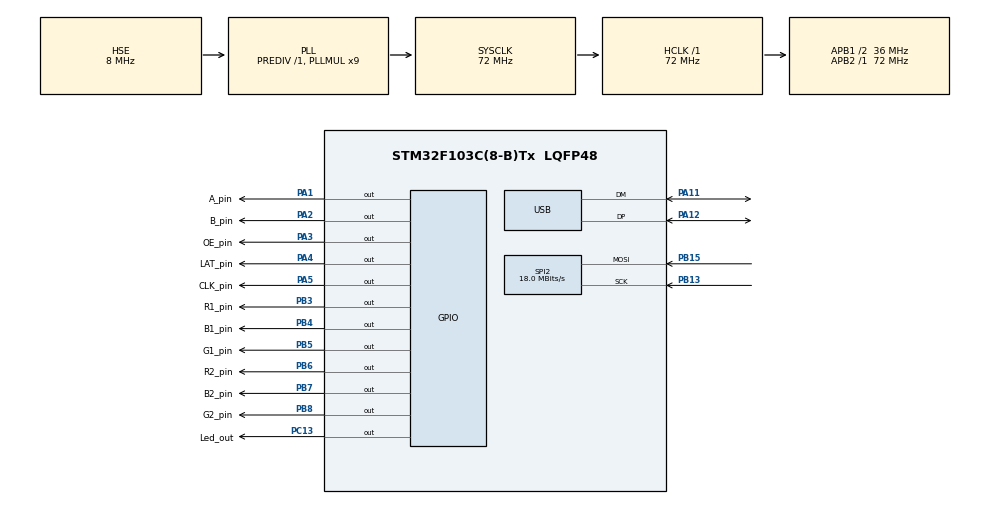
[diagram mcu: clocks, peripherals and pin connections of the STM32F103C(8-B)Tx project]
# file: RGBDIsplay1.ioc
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Mcu.Family=STM32F1
Mcu.Name=STM32F103C(8-B)Tx
Mcu.Package=LQFP48
NVIC.PriorityGroup=NVIC_PRIORITYGROUP_4
NVIC.TIM2_IRQn=true\:1\:0\:true\:false\:true\:true\:true
NVIC.USB_LP_CAN1_RX0_IRQn=true\:0\:0\:false\:false\:true\:false\:true
PA1.GPIO_Label=A_pin
PA1.GPIO_Speed=GPIO_SPEED_FREQ_HIGH
PA1.PinState=GPIO_PIN_RESET
PA1.Signal=GPIO_Output
PA11.Mode=Device
PA11.Signal=USB_DM
PA12.Mode=Device
PA12.Signal=USB_DP
PA13.Mode=Serial_Wire
PA13.Signal=SYS_JTMS-SWDIO
PA14.Mode=Serial_Wire
PA14.Signal=SYS_JTCK-SWCLK
PA2.GPIO_Label=B_pin
PA2.GPIO_Speed=GPIO_SPEED_FREQ_HIGH
PA2.Signal=GPIO_Output
PA3.GPIO_Label=OE_pin
PA3.GPIO_Speed=GPIO_SPEED_FREQ_HIGH
PA3.Signal=GPIO_Output
PA4.GPIO_Label=LAT_pin
PA4.GPIO_Speed=GPIO_SPEED_FREQ_HIGH
PA4.Signal=GPIO_Output
PA5.GPIO_Label=CLK_pin
PA5.GPIO_Speed=GPIO_SPEED_FREQ_HIGH
PA5.PinState=GPIO_PIN_RESET
PA5.Signal=GPIO_Output
PB13.Mode=RX_Only_Simplex_Unidirect_Slave
PB13.Signal=SPI2_SCK
PB15.Mode=RX_Only_Simplex_Unidirect_Slave
PB15.Signal=SPI2_MOSI
PB3.GPIO_Label=R1_pin
PB3.GPIO_Speed=GPIO_SPEED_FREQ_HIGH
PB3.Signal=GPIO_Output
PB4.GPIO_Label=B1_pin
PB4.GPIO_Speed=GPIO_SPEED_FREQ_HIGH
PB4.Signal=GPIO_Output
PB5.GPIO_Label=G1_pin
PB5.GPIO_Speed=GPIO_SPEED_FREQ_HIGH
PB5.Signal=GPIO_Output
PB6.GPIO_Label=R2_pin
PB6.GPIO_Speed=GPIO_SPEED_FREQ_HIGH
PB6.Signal=GPIO_Output
PB7.GPIO_Label=B2_pin
PB7.GPIO_Speed=GPIO_SPEED_FREQ_HIGH
PB7.Signal=GPIO_Output
PB8.GPIO_Label=G2_pin
PB8.GPIO_Speed=GPIO_SPEED_FREQ_HIGH
PB8.Signal=GPIO_Output
PC13-TAMPER-RTC.GPIO_Label=Led_out
PC13-TAMPER-RTC.Signal=GPIO_Output
PD0-OSC_IN.Mode=HSE-External-Oscillator
PD0-OSC_IN.Signal=RCC_OSC_IN
PD1-OSC_OUT.Mode=HSE-External-Oscillator
PD1-OSC_OUT.Signal=RCC_OSC_OUT
ProjectManager.HeapSize=0x200
ProjectManager.StackSize=0x400
ProjectManager.TargetToolchain=MDK-ARM V5
RCC.AHBFreq_Value=72000000
RCC.APB1CLKDivider=RCC_HCLK_DIV2
RCC.APB1Freq_Value=36000000
RCC.APB1TimFreq_Value=72000000
RCC.APB2Freq_Value=72000000
RCC.APB2TimFreq_Value=72000000
RCC.HCLKFreq_Value=72000000
RCC.PLLMUL=RCC_PLL_MUL9
RCC.SYSCLKFreq_VALUE=72000000
RCC.SYSCLKSource=RCC_SYSCLKSOURCE_PLLCLK
RCC.USBFreq_Value=48000000
RCC.USBPrescaler=RCC_USBCLKSOURCE_PLL_DIV1_5
SPI2.CalculateBaudRate=18.0 MBits/s
SPI2.Direction=SPI_DIRECTION_2LINES_RXONLY
SPI2.Mode=SPI_MODE_SLAVE
SPI2.VirtualType=VM_SLAVE
TIM2.Period=200
TIM2.Prescaler=7200
USB_DEVICE.CLASS_NAME_FS=CDC
USB_DEVICE.VirtualMode=Cdc
USB_DEVICE.VirtualModeFS=Cdc_FS
VP_TIM2_VS_ClockSourceINT.Mode=Internal
VP_USB_DEVICE_VS_USB_DEVICE_CDC_FS.Mode=CDC_FS
board=custom

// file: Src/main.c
/* USER CODE BEGIN Header */
/**
  ******************************************************************************
  * @file           : main.c
  * @brief          : Main program body
  ******************************************************************************
  * @attention
  *
  * <h2><center>&copy; Copyright (c) 2020 STMicroelectronics.
  * All rights reserved.</center></h2>
  *
  * This software component is licensed by ST under Ultimate Liberty license
  * SLA0044, the "License"; You may not use this file except in compliance with
  * the License. You may obtain a copy of the License at:
  *                             www.st.com/SLA0044
  *
  ******************************************************************************
  */
/* USER CODE END Header */

#include "main.h"
#include "usb_device.h"

/* USER CODE BEGIN Includes */
#include "Bitmaps.c"
#include <stdlib.h>
#include "../MDK-ARM/HemGfxWrapper.h"
#include <stdlib.h>
/* USER CODE END Includes */

SPI_HandleTypeDef hspi2;

TIM_HandleTypeDef htim2;

void SystemClock_Config(void);
static void MX_GPIO_Init(void);
static void MX_SPI2_Init(void);
static void MX_TIM2_Init(void);

/* USER CODE BEGIN 0 */

const uint8_t Sequence[64] = {
  0x80, 0x81, 0x82, 0x83, 0x84, 0x85, 0x86, 0x87,
  0x07, 0x06, 0x05, 0x04, 0x03, 0x02, 0x01, 0x00,
  0x88, 0x89, 0x8A, 0x8B, 0x8C, 0x8D, 0x8E, 0x8F,
  0x0F, 0x0E, 0x0D, 0x0C, 0x0B, 0x0A, 0x09, 0x08,
  0x90, 0x91, 0x92, 0x93, 0x94, 0x95, 0x96, 0x97,
  0x17, 0x16, 0x15, 0x14, 0x13, 0x12, 0x11, 0x10,
  0x98, 0x99, 0x9A, 0x9B, 0x9C, 0x9D, 0x9E, 0x9F,
  0x1F, 0x1E, 0x1D, 0x1C, 0x1B, 0x1A, 0x19, 0x18
};

const uint16_t BrightnessTimestep[16] = {
	0x0000,
	0x0001,
	0x0101,
	0x0111,
	0x1111,
	0x1115,
	0x1515,
	0x1555,
	0x5555,
	0x555D,
	0x5D5D,
	0x5DDD,
	0x7DDD,
	0x7DDF,
	0x7FDF,
	0x7FFF
};

uint16_t *MarioVid[2];

const uint8_t ra[] = {0, 1, 0, 1};
const uint8_t rb[] = {0, 0, 1, 1};

uint16_t map1[512];
uint16_t map2[512];
uint8_t count = 0;

HemGfx_t *h_Gfx;
bool Ready = true;

void WritePin1(uint8_t);
void uploadMatrix1(void);
void uploadMatrix2(void);
void uploadMatrix3(void);

void HemWriteImage(uint16_t *image, int16_t x, int16_t y){
	HemdrawImage(h_Gfx, (image + 2), image[0], image[1], x, y);
}

void SwitchBuffer(HemGfx_t *h_gfx, bool copy, bool ready){
	while(ready == false)
		__NOP();

	HemSwitchBuff(h_Gfx, copy);
}

/* USER CODE END 0 */

int main(void)
{
  /* USER CODE BEGIN 1 */
	h_Gfx = newHemGfx(32, 16, (uint16_t *)map1, (uint16_t *)map2);

	MarioVid[0] = (uint16_t *)MarioVid2;
	MarioVid[1] = (uint16_t *)MarioVid4;
  /* USER CODE END 1 */

  /* MCU Configuration--------------------------------------------------------*/

  /* Reset of all peripherals, Initializes the Flash interface and the Systick. */
  HAL_Init();

  /* Configure the system clock */
  SystemClock_Config();

  /* Initialize all configured peripherals */
  MX_GPIO_Init();
  MX_SPI2_Init();
  MX_USB_DEVICE_Init();
  MX_TIM2_Init();
  /* USER CODE BEGIN 2 */

	HAL_TIM_Base_Start_IT(&htim2);
	int16_t temp1 = 0;
  /* USER CODE END 2 */

  /* Infinite loop */
  while (1)
  {

    /* USER CODE BEGIN 3 */
		int16_t temp0;
		for(temp0 = 0; temp0 < 2; temp0++){
			if(temp1 > 32)
				temp1 = -11;

			HAL_Delay(100);
			HAL_GPIO_TogglePin(Led_out_GPIO_Port, Led_out_Pin);
			HemClearScreen(h_Gfx);
			HemWriteImage(MarioVid[temp0], temp1, (1 - temp0));
			SwitchBuffer(h_Gfx, true, Ready);
			temp1 += ((temp0 == 0) ? 4 : 3);
		}
	}
  /* USER CODE END 3 */
}

void SystemClock_Config(void)
{
  RCC_OscInitTypeDef RCC_OscInitStruct = {0};
  RCC_ClkInitTypeDef RCC_ClkInitStruct = {0};
  RCC_PeriphCLKInitTypeDef PeriphClkInit = {0};

  /** Initializes the CPU, AHB and APB busses clocks
  */
  RCC_OscInitStruct.OscillatorType = RCC_OSCILLATORTYPE_HSE;
  RCC_OscInitStruct.HSEState = RCC_HSE_ON;
  RCC_OscInitStruct.HSEPredivValue = RCC_HSE_PREDIV_DIV1;
  RCC_OscInitStruct.HSIState = RCC_HSI_ON;
  RCC_OscInitStruct.PLL.PLLState = RCC_PLL_ON;
  RCC_OscInitStruct.PLL.PLLSource = RCC_PLLSOURCE_HSE;
  RCC_OscInitStruct.PLL.PLLMUL = RCC_PLL_MUL9;
  if (HAL_RCC_OscConfig(&RCC_OscInitStruct) != HAL_OK)
  {
    Error_Handler();
  }
  /** Initializes the CPU, AHB and APB busses clocks
  */
  RCC_ClkInitStruct.ClockType = RCC_CLOCKTYPE_HCLK|RCC_CLOCKTYPE_SYSCLK
                              |RCC_CLOCKTYPE_PCLK1|RCC_CLOCKTYPE_PCLK2;
  RCC_ClkInitStruct.SYSCLKSource = RCC_SYSCLKSOURCE_PLLCLK;
  RCC_ClkInitStruct.AHBCLKDivider = RCC_SYSCLK_DIV1;
  RCC_ClkInitStruct.APB1CLKDivider = RCC_HCLK_DIV2;
  RCC_ClkInitStruct.APB2CLKDivider = RCC_HCLK_DIV1;

  if (HAL_RCC_ClockConfig(&RCC_ClkInitStruct, FLASH_LATENCY_2) != HAL_OK)
  {
    Error_Handler();
  }
  PeriphClkInit.PeriphClockSelection = RCC_PERIPHCLK_USB;
  PeriphClkInit.UsbClockSelection = RCC_USBCLKSOURCE_PLL_DIV1_5;
  if (HAL_RCCEx_PeriphCLKConfig(&PeriphClkInit) != HAL_OK)
  {
    Error_Handler();
  }
}

static void MX_SPI2_Init(void)
{

  /* SPI2 parameter configuration*/
  hspi2.Instance = SPI2;
  hspi2.Init.Mode = SPI_MODE_SLAVE;
  hspi2.Init.Direction = SPI_DIRECTION_2LINES_RXONLY;
  hspi2.Init.DataSize = SPI_DATASIZE_8BIT;
  hspi2.Init.CLKPolarity = SPI_POLARITY_LOW;
  hspi2.Init.CLKPhase = SPI_PHASE_1EDGE;
  hspi2.Init.NSS = SPI_NSS_SOFT;
  hspi2.Init.BaudRatePrescaler = SPI_BAUDRATEPRESCALER_2;
  hspi2.Init.FirstBit = SPI_FIRSTBIT_MSB;
  hspi2.Init.TIMode = SPI_TIMODE_DISABLE;
  hspi2.Init.CRCCalculation = SPI_CRCCALCULATION_DISABLE;
  hspi2.Init.CRCPolynomial = 10;
  if (HAL_SPI_Init(&hspi2) != HAL_OK)
  {
    Error_Handler();
  }

}

static void MX_TIM2_Init(void)
{

  TIM_ClockConfigTypeDef sClockSourceConfig = {0};
  TIM_MasterConfigTypeDef sMasterConfig = {0};

  htim2.Instance = TIM2;
  htim2.Init.Prescaler = 7200;
  htim2.Init.CounterMode = TIM_COUNTERMODE_UP;
  htim2.Init.Period = 200;
  htim2.Init.ClockDivision = TIM_CLOCKDIVISION_DIV1;
  htim2.Init.AutoReloadPreload = TIM_AUTORELOAD_PRELOAD_DISABLE;
  if (HAL_TIM_Base_Init(&htim2) != HAL_OK)
  {
    Error_Handler();
  }
  sClockSourceConfig.ClockSource = TIM_CLOCKSOURCE_INTERNAL;
  if (HAL_TIM_ConfigClockSource(&htim2, &sClockSourceConfig) != HAL_OK)
  {
    Error_Handler();
  }
  sMasterConfig.MasterOutputTrigger = TIM_TRGO_RESET;
  sMasterConfig.MasterSlaveMode = TIM_MASTERSLAVEMODE_DISABLE;
  if (HAL_TIMEx_MasterConfigSynchronization(&htim2, &sMasterConfig) != HAL_OK)
  {
    Error_Handler();
  }

}

static void MX_GPIO_Init(void)
{
  GPIO_InitTypeDef GPIO_InitStruct = {0};

  /* GPIO Ports Clock Enable */
  __HAL_RCC_GPIOC_CLK_ENABLE();
  __HAL_RCC_GPIOD_CLK_ENABLE();
  __HAL_RCC_GPIOA_CLK_ENABLE();
  __HAL_RCC_GPIOB_CLK_ENABLE();

  /*Configure GPIO pin Output Level */
  HAL_GPIO_WritePin(Led_out_GPIO_Port, Led_out_Pin, GPIO_PIN_RESET);

  /*Configure GPIO pin Output Level */
  HAL_GPIO_WritePin(GPIOA, A_pin_Pin|B_pin_Pin|OE_pin_Pin|LAT_pin_Pin
                          |CLK_pin_Pin, GPIO_PIN_RESET);

  /*Configure GPIO pin Output Level */
  HAL_GPIO_WritePin(GPIOB, R1_pin_Pin|B1_pin_Pin|G1_pin_Pin|R2_pin_Pin
                          |B2_pin_Pin|G2_pin_Pin, GPIO_PIN_RESET);

  /*Configure GPIO pin : Led_out_Pin */
  GPIO_InitStruct.Pin = Led_out_Pin;
  GPIO_InitStruct.Mode = GPIO_MODE_OUTPUT_PP;
  GPIO_InitStruct.Pull = GPIO_NOPULL;
  GPIO_InitStruct.Speed = GPIO_SPEED_FREQ_LOW;
  HAL_GPIO_Init(Led_out_GPIO_Port, &GPIO_InitStruct);

  /*Configure GPIO pins : A_pin_Pin B_pin_Pin OE_pin_Pin LAT_pin_Pin
                           CLK_pin_Pin */
  GPIO_InitStruct.Pin = A_pin_Pin|B_pin_Pin|OE_pin_Pin|LAT_pin_Pin
                          |CLK_pin_Pin;
  GPIO_InitStruct.Mode = GPIO_MODE_OUTPUT_PP;
  GPIO_InitStruct.Pull = GPIO_NOPULL;
  GPIO_InitStruct.Speed = GPIO_SPEED_FREQ_HIGH;
  HAL_GPIO_Init(GPIOA, &GPIO_InitStruct);

  /*Configure GPIO pins : R1_pin_Pin B1_pin_Pin G1_pin_Pin R2_pin_Pin
                           B2_pin_Pin G2_pin_Pin */
  GPIO_InitStruct.Pin = R1_pin_Pin|B1_pin_Pin|G1_pin_Pin|R2_pin_Pin
                          |B2_pin_Pin|G2_pin_Pin;
  GPIO_InitStruct.Mode = GPIO_MODE_OUTPUT_PP;
  GPIO_InitStruct.Pull = GPIO_NOPULL;
  GPIO_InitStruct.Speed = GPIO_SPEED_FREQ_HIGH;
  HAL_GPIO_Init(GPIOB, &GPIO_InitStruct);

}

/* USER CODE BEGIN 4 */
void HAL_TIM_PeriodElapsedCallback(TIM_HandleTypeDef *htim){
	if(htim == &htim2){
		uploadMatrix3();
	}
}

void uploadMatrix3(){
	//HAL_TIM_Base_Stop_IT(&htim2);
	Ready = false;
	uint8_t row;
	for(row = 0; row < 4; row ++){
		HAL_GPIO_WritePin(A_pin_GPIO_Port, (A_pin_Pin * ra[row]) | (B_pin_Pin * rb[row]), GPIO_PIN_SET);
		HAL_GPIO_WritePin(A_pin_GPIO_Port, (A_pin_Pin * !ra[row]) | (B_pin_Pin * !rb[row]), GPIO_PIN_RESET);

		for(count = 0; count < 16; count++){

			HAL_GPIO_WritePin(A_pin_GPIO_Port, (A_pin_Pin * ra[row]) | (B_pin_Pin * rb[row]), GPIO_PIN_SET);
			HAL_GPIO_WritePin(A_pin_GPIO_Port, (A_pin_Pin * !ra[row]) | (B_pin_Pin * !rb[row]), GPIO_PIN_RESET);

			WritePin1(row);

			HAL_GPIO_WritePin(LAT_pin_GPIO_Port, LAT_pin_Pin, GPIO_PIN_SET);
			HAL_GPIO_WritePin(LAT_pin_GPIO_Port, LAT_pin_Pin, GPIO_PIN_RESET);

			HAL_GPIO_WritePin(OE_pin_GPIO_Port, OE_pin_Pin, GPIO_PIN_RESET);
			uint16_t q;
			for(q = 0;q < 20; q++)
				__NOP();
			HAL_GPIO_WritePin(OE_pin_GPIO_Port, OE_pin_Pin, GPIO_PIN_SET);
		}
	}
	Ready = true;
	//HAL_TIM_Base_Start_IT(&htim2);
}

void WritePin1(uint8_t row){
	uint8_t R = (row << 5);
	uint8_t i;
	uint16_t pos;

	uint16_t T;
	uint16_t B;
	uint8_t count_t = 1 << count;

	uint16_t pinData;

	uint16_t pinCount = R1_pin_Pin | B1_pin_Pin | G1_pin_Pin | R2_pin_Pin | B2_pin_Pin | G2_pin_Pin;

	uint16_t* buffer = HemGetBuffer(h_Gfx);
	for(i = 0;i < 64; i++){
		pos = Sequence[i] + R;
		T = *(buffer + pos);
		B = *(buffer + pos + 256);

		pinData = 0x0000;
		pinData |= (R1_pin_Pin * !!(BrightnessTimestep[((T & 0x0F00) >> 8)] & count_t));
		pinData |= (B1_pin_Pin * !!(BrightnessTimestep[(T & 0x000F)] & count_t));
		pinData |= (G1_pin_Pin * !!(BrightnessTimestep[((T & 0x00F0) >> 4)] & count_t));
		pinData |= (R2_pin_Pin * !!(BrightnessTimestep[((B & 0x0F00) >> 8)] & count_t));
		pinData |= (B2_pin_Pin * !!(BrightnessTimestep[(B & 0x000F)] & count_t));
		pinData |= (G2_pin_Pin * !!(BrightnessTimestep[((B & 0x00F0) >> 4)] & count_t));

		HAL_GPIO_WritePin(R1_pin_GPIO_Port, pinData, GPIO_PIN_SET);
		HAL_GPIO_WritePin(R1_pin_GPIO_Port, (~pinData & pinCount), GPIO_PIN_RESET);

		HAL_GPIO_WritePin(CLK_pin_GPIO_Port, CLK_pin_Pin, GPIO_PIN_SET);
		HAL_GPIO_WritePin(CLK_pin_GPIO_Port, CLK_pin_Pin, GPIO_PIN_RESET);
  }
}
/* USER CODE END 4 */

void Error_Handler(void)
{
}

/************************ (C) COPYRIGHT STMicroelectronics *****END OF FILE****/
